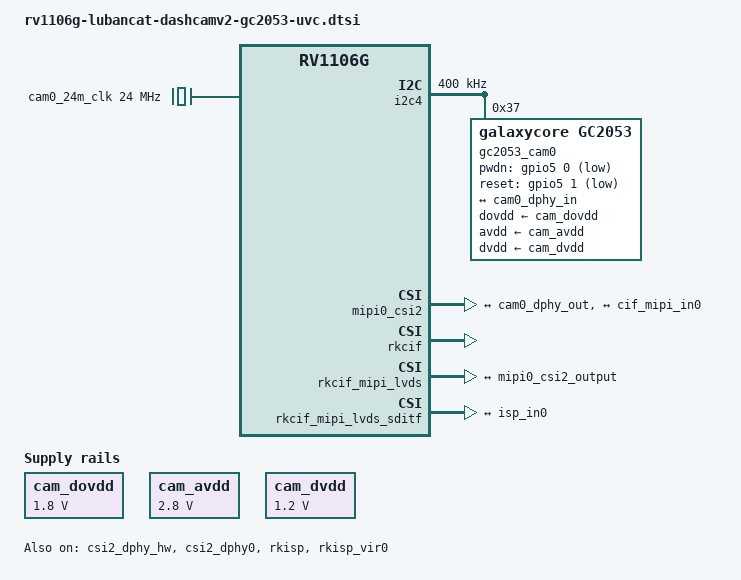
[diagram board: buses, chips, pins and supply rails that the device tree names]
// SPDX-License-Identifier: (GPL-2.0+ OR MIT)
/*
 * dashcamv2 topology: one GC2053 MIPI sensor on CAM0.
 * CAM1 is a USB UVC camera and is enumerated by uvcvideo at runtime.
 * GPIO, I2C and regulator values are reused from the LubanCat single-camera
 * GC2053 configuration and must be verified against the production schematic.
 */

/ {
	cam0_24m_clk: cam0-24m-clock {
		compatible = "fixed-clock";
		#clock-cells = <0>;
		clock-frequency = <24000000>;
		clock-output-names = "cam0_24m_clk";
	};

	cam_dovdd: cam-dovdd {
		compatible = "regulator-fixed";
		regulator-name = "cam_dovdd";
		regulator-always-on;
		regulator-boot-on;
		regulator-min-microvolt = <1800000>;
		regulator-max-microvolt = <1800000>;
	};

	cam_avdd: cam-avdd {
		compatible = "regulator-fixed";
		regulator-name = "cam_avdd";
		regulator-always-on;
		regulator-boot-on;
		regulator-min-microvolt = <2800000>;
		regulator-max-microvolt = <2800000>;
	};

	cam_dvdd: cam-dvdd {
		compatible = "regulator-fixed";
		regulator-name = "cam_dvdd";
		regulator-always-on;
		regulator-boot-on;
		regulator-min-microvolt = <1200000>;
		regulator-max-microvolt = <1200000>;
	};
};

&csi2_dphy_hw { status = "okay"; };

&csi2_dphy0 {
	status = "okay";
	ports {
		#address-cells = <1>;
		#size-cells = <0>;
		port@0 {
			reg = <0>;
			#address-cells = <1>;
			#size-cells = <0>;
			cam0_dphy_in: endpoint@0 {
				reg = <0>;
				remote-endpoint = <&gc2053_cam0_out>;
				data-lanes = <1 2>;
			};
		};
		port@1 {
			reg = <1>;
			cam0_dphy_out: endpoint { remote-endpoint = <&mipi0_csi2_input>; };
		};
	};
};

&i2c4 {
	status = "okay";
	clock-frequency = <400000>;
	pinctrl-names = "default";
	pinctrl-0 = <&i2c4m2_xfer>;

	gc2053_cam0: gc2053-cam0@37 {
		compatible = "galaxycore,gc2053";
		reg = <0x37>;
		clocks = <&cam0_24m_clk>;
		clock-names = "xvclk";
		pwdn-gpios = <&gpio5 0 GPIO_ACTIVE_LOW>;
		reset-gpios = <&gpio5 1 GPIO_ACTIVE_LOW>;
		dovdd-supply = <&cam_dovdd>;
		avdd-supply = <&cam_avdd>;
		dvdd-supply = <&cam_dvdd>;
		rockchip,camera-module-index = <0>;
		rockchip,camera-module-facing = "back";
		rockchip,camera-module-name = "CMK-OT2274-V10";
		rockchip,camera-module-lens-name = "28IRC-F20";
		port {
			gc2053_cam0_out: endpoint {
				remote-endpoint = <&cam0_dphy_in>;
				data-lanes = <1 2>;
			};
		};
	};
};

&mipi0_csi2 {
	status = "okay";
	ports {
		#address-cells = <1>;
		#size-cells = <0>;
		port@0 {
			reg = <0>;
			mipi0_csi2_input: endpoint { remote-endpoint = <&cam0_dphy_out>; };
		};
		port@1 {
			reg = <1>;
			mipi0_csi2_output: endpoint { remote-endpoint = <&cif_mipi_in0>; };
		};
	};
};

&rkcif { status = "okay"; pinctrl-names = "default"; pinctrl-0 = <&mipi_pins>; };

&rkcif_mipi_lvds {
	status = "okay";
	port { cif_mipi_in0: endpoint { remote-endpoint = <&mipi0_csi2_output>; }; };
};

&rkcif_mipi_lvds_sditf {
	status = "okay";
	port { mipi_lvds0_sditf: endpoint { remote-endpoint = <&isp_in0>; }; };
};

&rkisp { status = "okay"; };

&rkisp_vir0 {
	status = "okay";
	port { isp_in0: endpoint { remote-endpoint = <&mipi_lvds0_sditf>; }; };
};
